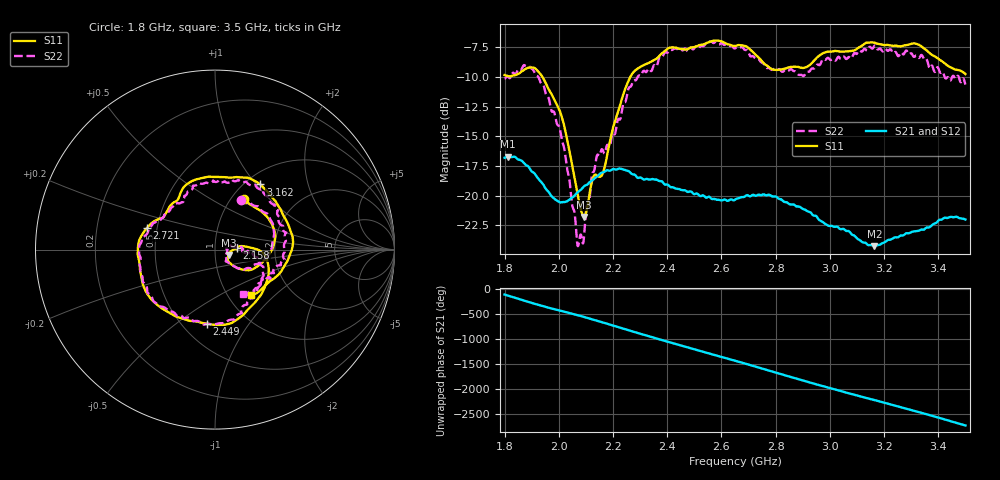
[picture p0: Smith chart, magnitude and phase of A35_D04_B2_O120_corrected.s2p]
! Created with skrf 1.9.0 (http://scikit-rf.org).
# Hz S RI R 50.0
!freq ReS11 ImS11 ReS21 ImS21 ReS12 ImS12 ReS22 ImS22
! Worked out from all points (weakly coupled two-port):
!   1601 points, 1.8 GHz to 3.5 GHz, reference 50 ohm
!   highest |S21| = -16.70 dB at 1.812 GHz (marker M1); lowest = -24.2 dB at 3.164 GHz (marker M2)
!   lowest |S11| = -21.8 dB at 2.093 GHz (marker M3), VSWR 1.18, Z = 58.1 - j3.45 ohm
!   |S11| at or under -10 dB: 1.94 GHz to 2.263 GHz (323.2 MHz wide, 15.4 % of centre)
!   |S22| runs from -24.2 to -7.0 dB; largest |S21 - S12| = 0.0023
!   S11 on the Smith chart (normalised r, x): 1.8 GHz: 1.15, +0.71; 2.158 GHz: 1.28, +0.02; 2.449 GHz: 0.65, -0.65; 2.721 GHz: 0.44, +0.13; 3.162 GHz: 1.16, +1.05; 3.5 GHz: 1.27, -0.73
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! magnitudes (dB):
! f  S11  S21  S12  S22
! 1.8 GHz  -9.8  -16.8  -16.8  -10.1
! 1.812 GHz  -9.9  -16.7  -16.7  -9.9
! 1.883 GHz  -9.3  -17.5  -17.5  -9.1
! 1.942 GHz  -10.1  -19.0  -19.0  -10.6
! 2.013 GHz  -13.5  -20.5  -20.5  -15.4
! 2.068 GHz  -19.7  -19.7  -19.7  -24.0
! 2.084 GHz  -21.4  -19.4  -19.4  -23.4
! 2.093 GHz  -21.8  -19.2  -19.2  -23.4
! 2.127 GHz  -18.4  -18.6  -18.6  -18.0
! 2.158 GHz  -18.3  -18.0  -18.0  -16.1
! 2.26 GHz  -10.2  -18.0  -18.0  -10.8
! 2.367 GHz  -8.3  -18.7  -18.7  -8.6
! 2.449 GHz  -7.6  -19.5  -19.5  -7.6
! 2.65 GHz  -7.4  -20.3  -20.3  -7.6
! 2.721 GHz  -8.0  -19.9  -19.9  -8.3
! 2.795 GHz  -9.4  -20.1  -20.0  -9.3
! 2.934 GHz  -8.8  -21.5  -21.5  -9.3
! 3.162 GHz  -7.1  -24.2  -24.2  -7.4
! 3.164 GHz  -7.1  -24.2  -24.2  -7.4
! 3.217 GHz  -7.3  -23.7  -23.7  -7.8
! 3.324 GHz  -7.2  -23.0  -22.9  -8.3
! 3.5 GHz  -9.7  -22.0  -22.0  -10.6
